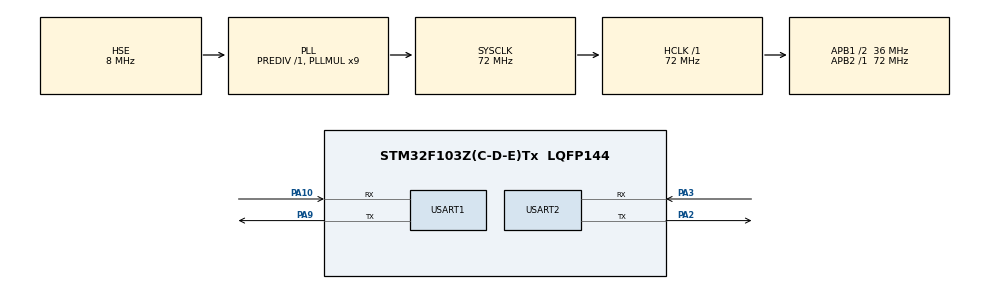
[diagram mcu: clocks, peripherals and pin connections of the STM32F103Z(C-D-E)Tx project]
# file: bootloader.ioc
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Mcu.Family=STM32F1
Mcu.Name=STM32F103Z(C-D-E)Tx
Mcu.Package=LQFP144
NVIC.PriorityGroup=NVIC_PRIORITYGROUP_4
NVIC.USART1_IRQn=true\:0\:0\:false\:false\:true\:true\:true\:true
NVIC.USART2_IRQn=true\:0\:0\:false\:false\:true\:true\:true\:true
OSC_IN.Mode=HSE-External-Oscillator
OSC_IN.Signal=RCC_OSC_IN
OSC_OUT.Mode=HSE-External-Oscillator
OSC_OUT.Signal=RCC_OSC_OUT
PA10.Mode=Asynchronous
PA10.Signal=USART1_RX
PA13.Mode=Serial_Wire
PA13.Signal=SYS_JTMS-SWDIO
PA14.Mode=Serial_Wire
PA14.Signal=SYS_JTCK-SWCLK
PA2.Mode=Asynchronous
PA2.Signal=USART2_TX
PA3.Mode=Asynchronous
PA3.Signal=USART2_RX
PA9.Mode=Asynchronous
PA9.Signal=USART1_TX
PC14-OSC32_IN.Mode=LSE-External-Oscillator
PC14-OSC32_IN.Signal=RCC_OSC32_IN
PC15-OSC32_OUT.Mode=LSE-External-Oscillator
PC15-OSC32_OUT.Signal=RCC_OSC32_OUT
ProjectManager.HeapSize=0x200
ProjectManager.StackSize=0x400
ProjectManager.TargetToolchain=MDK-ARM V5.32
RCC.AHBFreq_Value=72000000
RCC.APB1CLKDivider=RCC_HCLK_DIV2
RCC.APB1Freq_Value=36000000
RCC.APB1TimFreq_Value=72000000
RCC.APB2Freq_Value=72000000
RCC.APB2TimFreq_Value=72000000
RCC.HCLKFreq_Value=72000000
RCC.PLLMUL=RCC_PLL_MUL9
RCC.PLLSourceVirtual=RCC_PLLSOURCE_HSE
RCC.SYSCLKFreq_VALUE=72000000
RCC.SYSCLKSource=RCC_SYSCLKSOURCE_PLLCLK
RCC.USBFreq_Value=72000000
USART1.VirtualMode=VM_ASYNC
USART2.VirtualMode=VM_ASYNC
board=custom

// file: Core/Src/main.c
/* USER CODE BEGIN Header */
/**
 ******************************************************************************
 * @file           : main.c
 * @brief          : Main program body
 ******************************************************************************
 * @attention
 *
 * Copyright (c) 2024 STMicroelectronics.
 * All rights reserved.
 *
 * This software is licensed under terms that can be found in the LICENSE file
 * in the root directory of this software component.
 * If no LICENSE file comes with this software, it is provided AS-IS.
 *
 ******************************************************************************
 */
/* USER CODE END Header */
#include "main.h"
#include "usart.h"
#include "gpio.h"

/* USER CODE BEGIN Includes */
#include "boot_manager.h"
#include "inter_flashif.h"
#include "inter_flash_cfg.h"
#include "ymodem.h"
#include "common.h"
#include <stdio.h>
/* USER CODE END Includes */

void SystemClock_Config(void);
/* USER CODE BEGIN PFP */
uint8_t ymodem_run_flag = 0; // ymodule 运行标志
/* USER CODE END PFP */

int main(void)
{

  /* MCU Configuration--------------------------------------------------------*/

  /* Reset of all peripherals, Initializes the Flash interface and the Systick. */
  HAL_Init();

  /* Configure the system clock */
  SystemClock_Config();

  /* Initialize all configured peripherals */
  MX_GPIO_Init();
  MX_USART1_UART_Init();
  MX_USART2_UART_Init();
  /* USER CODE BEGIN 2 */
    printf("                    Bootloader	\r\n");
    printf("----------------------------------------------------------------\r\n");
    printf("flash cfg size:%d\r\n", sizeof(inter_flash_cfg_param_typeDef));
    printf("----------------------------------------------------------------\r\n");

    inter_flash_cfg_init(); // 内部flash 参数区参数校验

    // 读取升级标志
    int8_t ret = inter_flash_cfg_get_app_update_flag();
    if (ret == 1) // 需要升级
    {
        ymodem_run_flag = 1;
    }
    else if (ret == 0) // 不需要升级
    {
        printf("[BOOT]--->jump app\r\n\r\n");
        boot_check_stack2jump_app(INTER_FLASH_APP_ADDR); // 执行APP程序跳转
        ymodem_run_flag = 0;
    }

  /* USER CODE END 2 */

  /* Infinite loop */
  /* USER CODE BEGIN WHILE */
    while (1)
    {
        if (ymodem_run_flag == 1)
        {
            printf("Ymodem is run,waiting for upgrade...\r\n");

            extern uint8_t aFileName[FILE_NAME_LENGTH];

            uint8_t number[11] = {0};
            uint32_t size = 0;
            COM_StatusTypeDef result;
            result = Ymodem_Receive(&size);
            if (result == COM_OK)
            {
                printf((uint8_t *)"\n\n\r Programming Completed Successfully!\n\r--------------------------------\r\n Name: %s", aFileName);

                Int2Str(number, size);
                printf("Size: %dBytes", number);

                inter_flash_cfg_set_app_update_flag(0); // 升级完成后，清除升级标志
                printf("--->jump app\r\n");
                boot_check_stack2jump_app(INTER_FLASH_APP_ADDR); // 执行APP程序跳转
            }
            else
            {
                printf("=---<ret:%d\r\n", result);
            }
        }
        else
        {
            HAL_Delay(1000);
            printf("system error\r\n");
            printf("reboot...\r\n");
            HAL_Delay(2000);

            // 重启
            NVIC_SystemReset();
        }
    /* USER CODE END WHILE */

    }
}

void SystemClock_Config(void)
{
  RCC_OscInitTypeDef RCC_OscInitStruct = {0};
  RCC_ClkInitTypeDef RCC_ClkInitStruct = {0};

  /** Initializes the RCC Oscillators according to the specified parameters
  * in the RCC_OscInitTypeDef structure.
  */
  RCC_OscInitStruct.OscillatorType = RCC_OSCILLATORTYPE_HSE;
  RCC_OscInitStruct.HSEState = RCC_HSE_ON;
  RCC_OscInitStruct.HSEPredivValue = RCC_HSE_PREDIV_DIV1;
  RCC_OscInitStruct.HSIState = RCC_HSI_ON;
  RCC_OscInitStruct.PLL.PLLState = RCC_PLL_ON;
  RCC_OscInitStruct.PLL.PLLSource = RCC_PLLSOURCE_HSE;
  RCC_OscInitStruct.PLL.PLLMUL = RCC_PLL_MUL9;
  if (HAL_RCC_OscConfig(&RCC_OscInitStruct) != HAL_OK)
  {
    Error_Handler();
  }

  /** Initializes the CPU, AHB and APB buses clocks
  */
  RCC_ClkInitStruct.ClockType = RCC_CLOCKTYPE_HCLK|RCC_CLOCKTYPE_SYSCLK
                              |RCC_CLOCKTYPE_PCLK1|RCC_CLOCKTYPE_PCLK2;
  RCC_ClkInitStruct.SYSCLKSource = RCC_SYSCLKSOURCE_PLLCLK;
  RCC_ClkInitStruct.AHBCLKDivider = RCC_SYSCLK_DIV1;
  RCC_ClkInitStruct.APB1CLKDivider = RCC_HCLK_DIV2;
  RCC_ClkInitStruct.APB2CLKDivider = RCC_HCLK_DIV1;

  if (HAL_RCC_ClockConfig(&RCC_ClkInitStruct, FLASH_LATENCY_2) != HAL_OK)
  {
    Error_Handler();
  }
}

void Error_Handler(void)
{
    __disable_irq();
    while (1)
    {
    }
}
